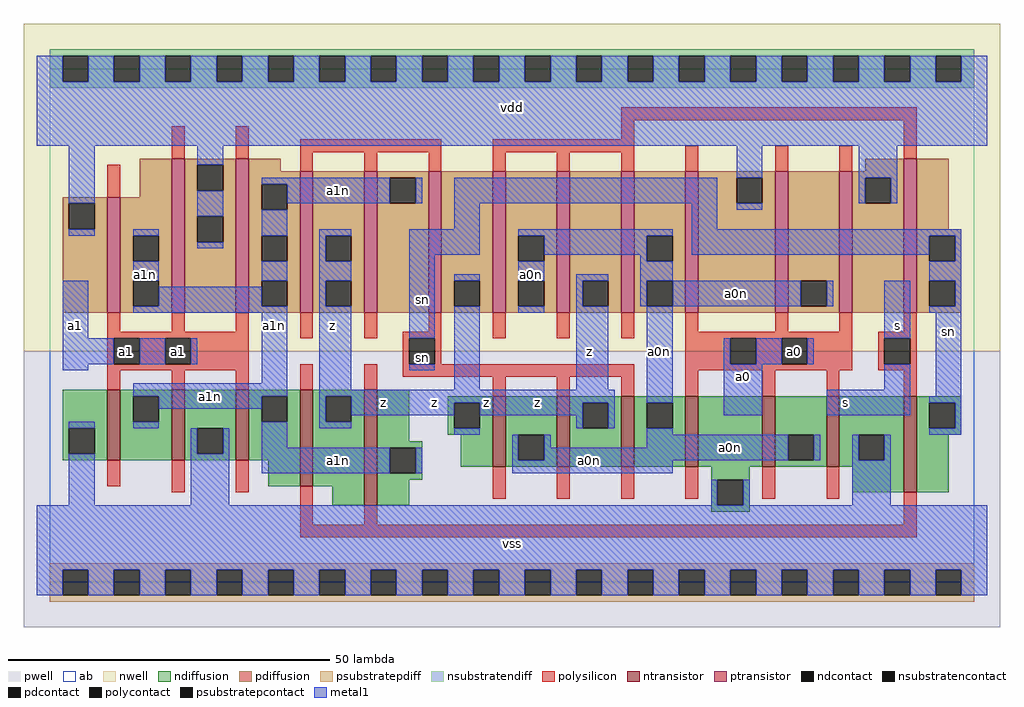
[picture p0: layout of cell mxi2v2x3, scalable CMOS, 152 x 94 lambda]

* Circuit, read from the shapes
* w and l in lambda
.subckt mxi2v2x3 a0 a0n a1 a1n s sn vdd vss z
M1 a1n a1 vss vss nfet w=11 l=2 m=3
M2 z s a1n vss nfet w=15 l=2
M3 a1n s z vss nfet w=18 l=2
M4 a0n sn z vss nfet w=11 l=2 m=3
M5 vss a0 a0n vss nfet w=11 l=2 m=3
M6 sn s vss vss nfet w=15 l=2
M7 a1n a1 vdd vdd pfet w=18 l=2
M8 vdd a1 a1n vdd pfet w=24 l=2 m=2
M9 z sn a1n vdd pfet w=22 l=2 m=3
M10 a0n s z vdd pfet w=22 l=2 m=3
M11 vdd a0 a0n vdd pfet w=22 l=2 m=3
M12 sn s vdd vdd pfet w=24 l=2
.ends

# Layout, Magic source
magic
tech scmos
<< ab >>
rect 0 0 144 80
<< pwell >>
rect -4 -7 148 36
<< nwell >>
rect -4 36 148 87
<< polysilicon >>
rect 89 72 135 74
rect 19 66 21 71
rect 29 66 31 71
rect 89 69 91 72
rect 39 67 61 69
rect 9 60 11 65
rect 39 64 41 67
rect 49 64 51 67
rect 59 64 61 67
rect 69 67 91 69
rect 69 64 71 67
rect 79 64 81 67
rect 89 64 91 67
rect 99 64 101 68
rect 113 64 115 68
rect 123 64 125 68
rect 133 66 135 72
rect 9 39 11 42
rect 19 39 21 42
rect 29 39 31 42
rect 9 38 31 39
rect 39 38 41 42
rect 49 38 51 42
rect 59 39 61 42
rect 55 38 61 39
rect 69 38 71 42
rect 79 38 81 42
rect 89 38 91 42
rect 99 39 101 42
rect 113 39 115 42
rect 123 39 125 42
rect 133 39 135 42
rect 99 38 125 39
rect 9 34 10 38
rect 14 34 18 38
rect 22 34 31 38
rect 55 34 56 38
rect 60 34 61 38
rect 99 34 106 38
rect 110 34 114 38
rect 118 34 125 38
rect 9 33 31 34
rect 9 30 11 33
rect 19 30 21 33
rect 29 30 31 33
rect 39 30 41 34
rect 49 30 51 34
rect 55 32 91 34
rect 9 15 11 19
rect 19 14 21 19
rect 29 14 31 19
rect 39 9 41 15
rect 69 29 71 32
rect 79 29 81 32
rect 89 29 91 32
rect 99 33 125 34
rect 129 38 135 39
rect 129 34 130 38
rect 134 34 135 38
rect 129 33 135 34
rect 99 29 101 33
rect 111 29 113 33
rect 121 29 123 33
rect 133 29 135 33
rect 69 13 71 18
rect 79 13 81 18
rect 89 13 91 18
rect 99 13 101 18
rect 111 13 113 18
rect 121 13 123 18
rect 49 9 51 12
rect 133 9 135 14
rect 39 7 135 9
<< ndiffusion >>
rect 2 24 9 30
rect 2 20 3 24
rect 7 20 9 24
rect 2 19 9 20
rect 11 29 19 30
rect 11 25 13 29
rect 17 25 19 29
rect 11 19 19 25
rect 21 24 29 30
rect 21 20 23 24
rect 27 20 29 24
rect 21 19 29 20
rect 31 29 39 30
rect 31 25 33 29
rect 37 25 39 29
rect 31 19 39 25
rect 34 15 39 19
rect 41 29 49 30
rect 41 25 43 29
rect 47 25 49 29
rect 41 15 49 25
rect 44 12 49 15
rect 51 22 56 30
rect 62 28 69 29
rect 62 24 63 28
rect 67 24 69 28
rect 62 23 69 24
rect 51 21 58 22
rect 51 17 53 21
rect 57 17 58 21
rect 64 18 69 23
rect 71 23 79 29
rect 71 19 73 23
rect 77 19 79 23
rect 71 18 79 19
rect 81 28 89 29
rect 81 24 83 28
rect 87 24 89 28
rect 81 18 89 24
rect 91 28 99 29
rect 91 24 93 28
rect 97 24 99 28
rect 91 18 99 24
rect 101 18 111 29
rect 113 23 121 29
rect 113 19 115 23
rect 119 19 121 23
rect 113 18 121 19
rect 123 23 133 29
rect 123 19 126 23
rect 130 19 133 23
rect 123 18 133 19
rect 51 16 58 17
rect 51 12 56 16
rect 103 16 109 18
rect 103 12 104 16
rect 108 12 109 16
rect 125 14 133 18
rect 135 28 142 29
rect 135 24 137 28
rect 141 24 142 28
rect 135 23 142 24
rect 135 14 140 23
rect 103 11 109 12
<< pdiffusion >>
rect 14 60 19 66
rect 2 59 9 60
rect 2 55 3 59
rect 7 55 9 59
rect 2 42 9 55
rect 11 54 19 60
rect 11 50 13 54
rect 17 50 19 54
rect 11 47 19 50
rect 11 43 13 47
rect 17 43 19 47
rect 11 42 19 43
rect 21 65 29 66
rect 21 61 23 65
rect 27 61 29 65
rect 21 57 29 61
rect 21 53 23 57
rect 27 53 29 57
rect 21 42 29 53
rect 31 64 36 66
rect 127 64 133 66
rect 31 62 39 64
rect 31 58 33 62
rect 37 58 39 62
rect 31 54 39 58
rect 31 50 33 54
rect 37 50 39 54
rect 31 47 39 50
rect 31 43 33 47
rect 37 43 39 47
rect 31 42 39 43
rect 41 54 49 64
rect 41 50 43 54
rect 47 50 49 54
rect 41 47 49 50
rect 41 43 43 47
rect 47 43 49 47
rect 41 42 49 43
rect 51 63 59 64
rect 51 59 53 63
rect 57 59 59 63
rect 51 42 59 59
rect 61 47 69 64
rect 61 43 63 47
rect 67 43 69 47
rect 61 42 69 43
rect 71 54 79 64
rect 71 50 73 54
rect 77 50 79 54
rect 71 47 79 50
rect 71 43 73 47
rect 77 43 79 47
rect 71 42 79 43
rect 81 47 89 64
rect 81 43 83 47
rect 87 43 89 47
rect 81 42 89 43
rect 91 54 99 64
rect 91 50 93 54
rect 97 50 99 54
rect 91 47 99 50
rect 91 43 93 47
rect 97 43 99 47
rect 91 42 99 43
rect 101 63 113 64
rect 101 59 107 63
rect 111 59 113 63
rect 101 42 113 59
rect 115 47 123 64
rect 115 43 117 47
rect 121 43 123 47
rect 115 42 123 43
rect 125 63 133 64
rect 125 59 127 63
rect 131 59 133 63
rect 125 42 133 59
rect 135 55 140 66
rect 135 54 142 55
rect 135 50 137 54
rect 141 50 142 54
rect 135 47 142 50
rect 135 43 137 47
rect 141 43 142 47
rect 135 42 142 43
<< metal1 >>
rect -2 78 2 82
rect 6 78 10 82
rect 14 78 18 82
rect 22 78 26 82
rect 30 78 34 82
rect 38 78 42 82
rect 46 78 50 82
rect 54 78 58 82
rect 62 78 66 82
rect 70 78 74 82
rect 78 78 82 82
rect 86 78 90 82
rect 94 78 98 82
rect 102 78 106 82
rect 110 78 114 82
rect 118 78 122 82
rect 126 78 130 82
rect 134 78 138 82
rect 142 78 146 82
rect -2 68 146 78
rect 3 59 7 68
rect 23 65 27 68
rect 107 63 111 68
rect 23 57 27 61
rect 3 54 7 55
rect 13 54 17 55
rect 23 52 27 53
rect 33 62 53 63
rect 37 59 53 62
rect 57 59 58 63
rect 63 59 104 63
rect 33 54 37 58
rect 63 55 67 59
rect 100 55 104 59
rect 126 63 132 68
rect 126 59 127 63
rect 131 59 132 63
rect 107 58 111 59
rect 13 47 17 50
rect 2 38 6 47
rect 33 47 37 50
rect 17 43 33 46
rect 13 42 37 43
rect 2 34 10 38
rect 14 34 18 38
rect 22 34 23 38
rect 2 33 6 34
rect 33 31 37 42
rect 13 29 37 31
rect 17 27 33 29
rect 3 24 7 25
rect 13 24 17 25
rect 3 12 7 20
rect 22 20 23 24
rect 27 20 28 24
rect 22 12 28 20
rect 33 21 37 25
rect 42 54 47 55
rect 42 50 43 54
rect 42 47 47 50
rect 42 43 43 47
rect 42 30 47 43
rect 56 51 67 55
rect 73 54 97 55
rect 56 38 60 51
rect 77 51 93 54
rect 56 33 60 34
rect 63 47 67 48
rect 63 30 67 43
rect 73 47 77 50
rect 92 50 93 51
rect 100 54 142 55
rect 100 51 137 54
rect 73 42 77 43
rect 82 47 87 48
rect 82 43 83 47
rect 92 47 97 50
rect 141 50 142 54
rect 137 47 142 50
rect 92 43 93 47
rect 97 43 117 47
rect 121 43 122 47
rect 82 30 87 43
rect 42 29 88 30
rect 42 25 43 29
rect 47 28 88 29
rect 47 26 63 28
rect 42 24 47 25
rect 67 26 83 28
rect 82 24 83 26
rect 87 24 88 28
rect 93 28 97 43
rect 130 38 134 47
rect 141 43 142 47
rect 137 42 142 43
rect 105 34 106 38
rect 110 34 114 38
rect 118 34 119 38
rect 105 26 111 34
rect 130 30 134 34
rect 121 26 134 30
rect 138 29 142 42
rect 137 28 142 29
rect 63 23 67 24
rect 93 23 97 24
rect 141 24 142 28
rect 137 23 142 24
rect 33 17 53 21
rect 57 17 58 21
rect 72 19 73 23
rect 77 21 78 23
rect 93 21 115 23
rect 77 19 115 21
rect 119 19 120 23
rect 125 19 126 23
rect 130 19 131 23
rect 72 17 97 19
rect 103 12 104 16
rect 108 12 109 16
rect 125 12 131 19
rect -2 2 146 12
rect -2 -2 2 2
rect 6 -2 10 2
rect 14 -2 18 2
rect 22 -2 26 2
rect 30 -2 34 2
rect 38 -2 42 2
rect 46 -2 50 2
rect 54 -2 58 2
rect 62 -2 66 2
rect 70 -2 74 2
rect 78 -2 82 2
rect 86 -2 90 2
rect 94 -2 98 2
rect 102 -2 106 2
rect 110 -2 114 2
rect 118 -2 122 2
rect 126 -2 130 2
rect 134 -2 138 2
rect 142 -2 146 2
<< ntransistor >>
rect 9 19 11 30
rect 19 19 21 30
rect 29 19 31 30
rect 39 15 41 30
rect 49 12 51 30
rect 69 18 71 29
rect 79 18 81 29
rect 89 18 91 29
rect 99 18 101 29
rect 111 18 113 29
rect 121 18 123 29
rect 133 14 135 29
<< ptransistor >>
rect 9 42 11 60
rect 19 42 21 66
rect 29 42 31 66
rect 39 42 41 64
rect 49 42 51 64
rect 59 42 61 64
rect 69 42 71 64
rect 79 42 81 64
rect 89 42 91 64
rect 99 42 101 64
rect 113 42 115 64
rect 123 42 125 64
rect 133 42 135 66
<< polycontact >>
rect 10 34 14 38
rect 18 34 22 38
rect 56 34 60 38
rect 106 34 110 38
rect 114 34 118 38
rect 130 34 134 38
<< ndcontact >>
rect 3 20 7 24
rect 13 25 17 29
rect 23 20 27 24
rect 33 25 37 29
rect 43 25 47 29
rect 63 24 67 28
rect 53 17 57 21
rect 73 19 77 23
rect 83 24 87 28
rect 93 24 97 28
rect 115 19 119 23
rect 126 19 130 23
rect 104 12 108 16
rect 137 24 141 28
<< pdcontact >>
rect 3 55 7 59
rect 13 50 17 54
rect 13 43 17 47
rect 23 61 27 65
rect 23 53 27 57
rect 33 58 37 62
rect 33 50 37 54
rect 33 43 37 47
rect 43 50 47 54
rect 43 43 47 47
rect 53 59 57 63
rect 63 43 67 47
rect 73 50 77 54
rect 73 43 77 47
rect 83 43 87 47
rect 93 50 97 54
rect 93 43 97 47
rect 107 59 111 63
rect 117 43 121 47
rect 127 59 131 63
rect 137 50 141 54
rect 137 43 141 47
<< psubstratepcontact >>
rect 2 -2 6 2
rect 10 -2 14 2
rect 18 -2 22 2
rect 26 -2 30 2
rect 34 -2 38 2
rect 42 -2 46 2
rect 50 -2 54 2
rect 58 -2 62 2
rect 66 -2 70 2
rect 74 -2 78 2
rect 82 -2 86 2
rect 90 -2 94 2
rect 98 -2 102 2
rect 106 -2 110 2
rect 114 -2 118 2
rect 122 -2 126 2
rect 130 -2 134 2
rect 138 -2 142 2
<< nsubstratencontact >>
rect 2 78 6 82
rect 10 78 14 82
rect 18 78 22 82
rect 26 78 30 82
rect 34 78 38 82
rect 42 78 46 82
rect 50 78 54 82
rect 58 78 62 82
rect 66 78 70 82
rect 74 78 78 82
rect 82 78 86 82
rect 90 78 94 82
rect 98 78 102 82
rect 106 78 110 82
rect 114 78 118 82
rect 122 78 126 82
rect 130 78 134 82
rect 138 78 142 82
<< psubstratepdiff >>
rect 0 2 144 3
rect 0 -2 2 2
rect 6 -2 10 2
rect 14 -2 18 2
rect 22 -2 26 2
rect 30 -2 34 2
rect 38 -2 42 2
rect 46 -2 50 2
rect 54 -2 58 2
rect 62 -2 66 2
rect 70 -2 74 2
rect 78 -2 82 2
rect 86 -2 90 2
rect 94 -2 98 2
rect 102 -2 106 2
rect 110 -2 114 2
rect 118 -2 122 2
rect 126 -2 130 2
rect 134 -2 138 2
rect 142 -2 144 2
rect 0 -3 144 -2
<< nsubstratendiff >>
rect 0 82 144 83
rect 0 78 2 82
rect 6 78 10 82
rect 14 78 18 82
rect 22 78 26 82
rect 30 78 34 82
rect 38 78 42 82
rect 46 78 50 82
rect 54 78 58 82
rect 62 78 66 82
rect 70 78 74 82
rect 78 78 82 82
rect 86 78 90 82
rect 94 78 98 82
rect 102 78 106 82
rect 110 78 114 82
rect 118 78 122 82
rect 126 78 130 82
rect 134 78 138 82
rect 142 78 144 82
rect 0 77 144 78
<< labels >>
rlabel polycontact 58 35 58 35 6 sn
rlabel metal1 4 40 4 40 6 a1
rlabel polycontact 12 36 12 36 6 a1
rlabel polycontact 20 36 20 36 6 a1
rlabel metal1 15 48 15 48 6 a1n
rlabel metal1 52 28 52 28 6 z
rlabel metal1 25 29 25 29 6 a1n
rlabel metal1 44 40 44 40 6 z
rlabel metal1 35 40 35 40 6 a1n
rlabel metal1 72 6 72 6 6 vss
rlabel metal1 60 28 60 28 6 z
rlabel metal1 45 19 45 19 6 a1n
rlabel metal1 76 28 76 28 6 z
rlabel metal1 68 28 68 28 6 z
rlabel metal1 84 36 84 36 6 z
rlabel metal1 75 48 75 48 6 a0n
rlabel metal1 58 44 58 44 6 sn
rlabel metal1 45 61 45 61 6 a1n
rlabel metal1 72 74 72 74 6 vdd
rlabel metal1 84 19 84 19 6 a0n
rlabel metal1 108 32 108 32 6 a0
rlabel metal1 95 36 95 36 6 a0n
rlabel metal1 106 21 106 21 6 a0n
rlabel metal1 124 28 124 28 6 s
rlabel polycontact 116 36 116 36 6 a0
rlabel metal1 107 45 107 45 6 a0n
rlabel metal1 132 40 132 40 6 s
rlabel metal1 140 39 140 39 6 sn
<< end >>
